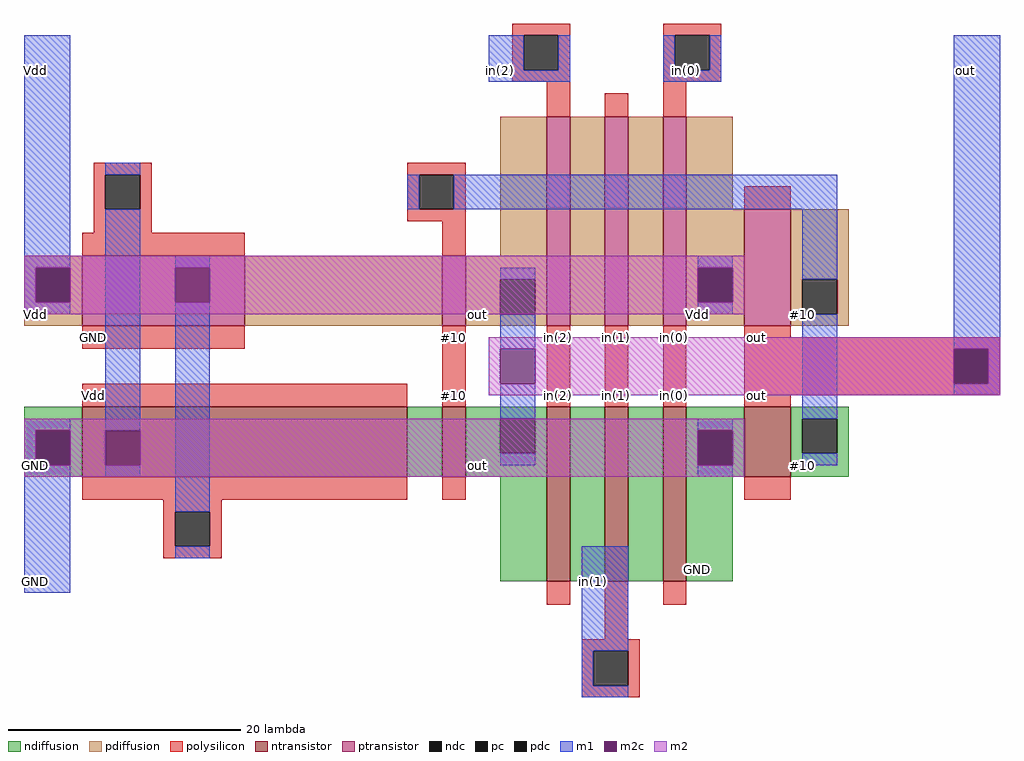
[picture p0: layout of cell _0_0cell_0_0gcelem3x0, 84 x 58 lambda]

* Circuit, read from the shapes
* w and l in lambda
.subckt _0_0cell_0_0gcelem3x0 #10 GND Vdd in(0) in(1) in(2) out
M1 n1 Vdd GND VSUBS nfet w=6 l=28
M2 out #10 n1 VSUBS nfet w=6 l=2
M3 n2 in(2) out VSUBS nfet w=15 l=2
M4 n3 in(1) n2 VSUBS nfet w=15 l=2
M5 GND in(0) n3 VSUBS nfet w=15 l=2
M6 #10 out GND VSUBS nfet w=6 l=4
M7 n4 GND Vdd NWELL pfet w=6 l=14
M8 out #10 n4 NWELL pfet w=6 l=2
M9 n5 in(2) out NWELL pfet w=18 l=2
M10 n6 in(1) n5 NWELL pfet w=18 l=2
M11 Vdd in(0) n6 NWELL pfet w=18 l=2
M12 #10 out Vdd NWELL pfet w=10 l=4
.ends

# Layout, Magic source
magic
tech sky130l
<< ndiffusion >>
rect 8 18 13 20
rect 8 15 9 18
rect 12 15 13 18
rect 8 14 13 15
rect 41 14 44 20
rect 46 19 53 20
rect 46 16 49 19
rect 52 16 53 19
rect 46 14 53 16
rect 49 5 53 14
rect 55 5 58 20
rect 60 5 63 20
rect 65 18 70 20
rect 65 15 66 18
rect 69 15 70 18
rect 65 14 70 15
rect 74 19 79 20
rect 74 16 75 19
rect 78 16 79 19
rect 74 14 79 16
rect 65 5 69 14
<< ndc >>
rect 9 15 12 18
rect 49 16 52 19
rect 66 15 69 18
rect 75 16 78 19
<< ntransistor >>
rect 13 14 41 20
rect 44 14 46 20
rect 53 5 55 20
rect 58 5 60 20
rect 63 5 65 20
rect 70 14 74 20
<< pdiffusion >>
rect 49 33 53 45
rect 8 32 13 33
rect 8 29 9 32
rect 12 29 13 32
rect 8 27 13 29
rect 27 27 44 33
rect 46 31 53 33
rect 46 28 49 31
rect 52 28 53 31
rect 46 27 53 28
rect 55 27 58 45
rect 60 27 63 45
rect 65 37 69 45
rect 65 32 70 37
rect 65 29 66 32
rect 69 29 70 32
rect 65 27 70 29
rect 74 31 79 37
rect 74 28 75 31
rect 78 28 79 31
rect 74 27 79 28
<< pdc >>
rect 9 29 12 32
rect 49 28 52 31
rect 66 29 69 32
rect 75 28 78 31
<< ptransistor >>
rect 13 27 27 33
rect 44 27 46 33
rect 53 27 55 45
rect 58 27 60 45
rect 63 27 65 45
rect 70 27 74 37
<< polysilicon >>
rect 50 52 55 53
rect 50 49 51 52
rect 54 49 55 52
rect 50 48 55 49
rect 53 45 55 48
rect 63 52 68 53
rect 63 49 64 52
rect 67 49 68 52
rect 63 48 68 49
rect 58 45 60 47
rect 63 45 65 48
rect 14 40 19 41
rect 14 37 15 40
rect 18 37 19 40
rect 14 35 19 37
rect 41 40 46 41
rect 41 37 42 40
rect 45 37 46 40
rect 41 36 46 37
rect 13 33 27 35
rect 44 33 46 36
rect 70 37 74 39
rect 13 25 27 27
rect 13 20 41 22
rect 44 20 46 27
rect 53 20 55 27
rect 58 20 60 27
rect 63 20 65 27
rect 70 26 74 27
rect 70 25 92 26
rect 70 22 88 25
rect 91 22 92 25
rect 70 21 92 22
rect 70 20 74 21
rect 13 12 41 14
rect 44 12 46 14
rect 20 11 25 12
rect 20 8 21 11
rect 24 8 25 11
rect 20 7 25 8
rect 70 12 74 14
rect 53 3 55 5
rect 58 0 60 5
rect 63 3 65 5
rect 56 -1 61 0
rect 56 -4 57 -1
rect 60 -4 61 -1
rect 56 -5 61 -4
<< pc >>
rect 51 49 54 52
rect 64 49 67 52
rect 15 37 18 40
rect 42 37 45 40
rect 88 22 91 25
rect 21 8 24 11
rect 57 -4 60 -1
<< m1 >>
rect 8 32 12 52
rect 48 49 51 52
rect 54 49 55 52
rect 48 48 55 49
rect 63 49 64 52
rect 67 49 68 52
rect 63 48 68 49
rect 8 29 9 32
rect 8 28 12 29
rect 15 40 18 41
rect 41 37 42 40
rect 45 37 78 40
rect 8 18 12 19
rect 8 15 9 18
rect 8 4 12 15
rect 15 18 18 37
rect 15 14 18 15
rect 21 32 24 33
rect 66 32 69 33
rect 21 11 24 29
rect 49 31 52 32
rect 66 28 69 29
rect 75 31 78 37
rect 49 25 52 28
rect 49 19 52 22
rect 75 19 78 28
rect 88 25 92 52
rect 91 22 92 25
rect 88 21 92 22
rect 49 15 52 16
rect 66 18 69 19
rect 75 15 78 16
rect 66 14 69 15
rect 21 7 24 8
rect 56 -1 60 8
rect 56 -4 57 -1
rect 56 -5 60 -4
<< m2c >>
rect 9 29 12 32
rect 9 15 12 18
rect 15 15 18 18
rect 21 29 24 32
rect 66 29 69 32
rect 49 22 52 25
rect 88 22 91 25
rect 66 15 69 18
<< m2 >>
rect 8 32 70 33
rect 8 29 9 32
rect 12 29 21 32
rect 24 29 66 32
rect 69 29 70 32
rect 8 28 70 29
rect 48 25 92 26
rect 48 22 49 25
rect 52 22 88 25
rect 91 22 92 25
rect 48 21 92 22
rect 8 18 70 19
rect 8 15 9 18
rect 12 15 15 18
rect 18 15 66 18
rect 69 15 70 18
rect 8 14 70 15
<< labels >>
rlabel pdiffusion 75 28 75 28 3 #10
rlabel polysilicon 71 21 71 21 3 out
rlabel polysilicon 71 26 71 26 3 out
rlabel ndiffusion 75 15 75 15 3 #10
rlabel pdiffusion 66 28 66 28 3 Vdd
rlabel polysilicon 64 21 64 21 3 in(0)
rlabel polysilicon 64 26 64 26 3 in(0)
rlabel ndiffusion 66 6 66 6 3 GND
rlabel polysilicon 59 21 59 21 3 in(1)
rlabel polysilicon 59 26 59 26 3 in(1)
rlabel polysilicon 54 21 54 21 3 in(2)
rlabel polysilicon 54 26 54 26 3 in(2)
rlabel ndiffusion 47 15 47 15 3 out
rlabel pdiffusion 47 28 47 28 3 out
rlabel polysilicon 45 21 45 21 3 #10
rlabel polysilicon 45 26 45 26 3 #10
rlabel polysilicon 14 21 14 21 3 Vdd
rlabel polysilicon 14 26 14 26 3 GND
rlabel m1 9 5 9 5 3 GND
rlabel m1 9 49 9 49 3 Vdd
rlabel m2 9 15 9 15 3 GND
rlabel m2 9 28 9 28 3 Vdd
rlabel m1 89 49 89 49 3 out
rlabel m1 49 49 49 49 3 in(2)
rlabel m1 65 49 65 49 3 in(0)
rlabel m1 57 5 57 5 3 in(1)
<< end >>
